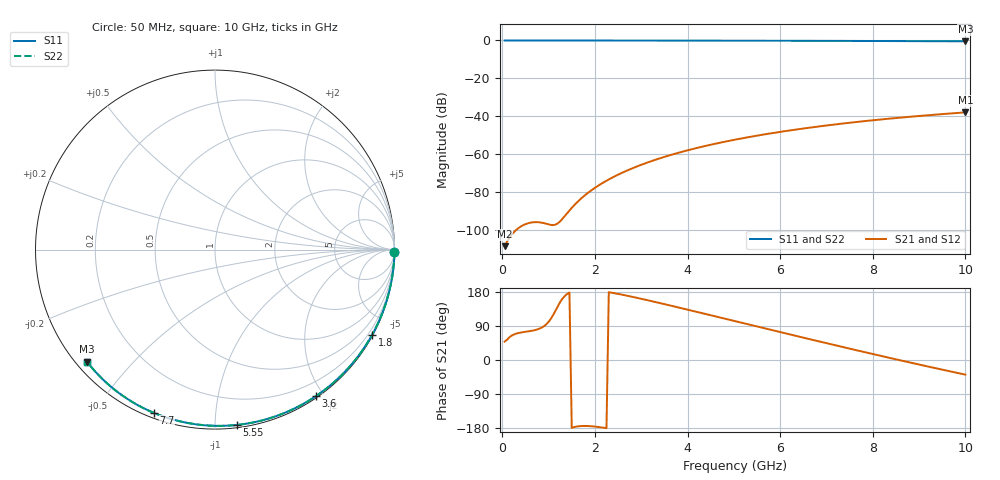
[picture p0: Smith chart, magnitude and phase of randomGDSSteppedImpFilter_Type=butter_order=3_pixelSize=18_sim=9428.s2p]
! freq	dB(S11)	phase(S11)	dB(S12)	phase(S12)
!  dB(S21)	phase(S21)	dB(S22)	phase(S22)
!S-par simulation data
#  GHz  S  DB  R 50
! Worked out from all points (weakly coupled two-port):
!   200 points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, 50 MHz to 10 GHz, reference 50 ohm
!   highest |S21| = -37.89 dB at 10 GHz (marker M1); lowest = -108.4 dB at 50 MHz (marker M2)
!   lowest |S11| = -0.5 dB at 10 GHz (marker M3), VSWR 37.60, Z = 1.52 - j18.8 ohm
!   |S11| at or under -10 dB: nowhere
!   |S22| runs from -0.5 to 0.0 dB; largest |S21 - S12| = 0
!   S11 on the Smith chart (normalised r, x): 50 MHz: open; 1.8 GHz: 0.03, -3.95; 3.6 GHz: 0.02, -1.90; 5.55 GHz: 0.02, -1.13; 7.7 GHz: 0.02, -0.69; 10 GHz: 0.03, -0.38
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0.05  -0.00 -0.8  -108.40 48.5  -108.40 48.5  -0.00 -0.8
0.9  -0.02 -14.4  -96.27 89.2  -96.27 89.2  -0.02 -14.4
1.75  -0.04 -27.7  -82.27 -174.0  -82.27 -174.0  -0.04 -27.6
1.8  -0.04 -28.4  -81.26 -174.0  -81.26 -174.0  -0.04 -28.4
1.85  -0.04 -29.2  -80.30 -174.2  -80.30 -174.2  -0.04 -29.2
1.9  -0.04 -30.0  -79.39 -174.6  -79.39 -174.6  -0.04 -30.0
2.05  -0.04 -32.3  -76.86 -176.4  -76.86 -176.4  -0.04 -32.3
2.25  -0.05 -35.3  -73.91 -180.0  -73.91 -180.0  -0.05 -35.3
2.45  -0.05 -38.4  -71.32 175.7  -71.32 175.7  -0.05 -38.4
2.65  -0.05 -41.4  -69.02 170.8  -69.02 170.8  -0.05 -41.4
3  -0.06 -46.7  -65.52 161.6  -65.52 161.6  -0.06 -46.7
3.4  -0.07 -52.6  -62.12 150.3  -62.12 150.3  -0.07 -52.6
3.6  -0.07 -55.5  -60.61 144.6  -60.61 144.6  -0.07 -55.5
4.3  -0.09 -65.6  -56.08 124.0  -56.08 124.0  -0.09 -65.6
5.05  -0.12 -76.0  -52.17 101.8  -52.17 101.8  -0.12 -76.0
5.55  -0.14 -82.8  -49.96 86.9  -49.96 86.9  -0.14 -82.8
6.1  -0.16 -90.2  -47.81 70.7  -47.81 70.7  -0.16 -90.1
6.7  -0.19 -98.0  -45.74 53.1  -45.74 53.1  -0.19 -97.9
7.7  -0.25 -110.6  -42.83 24.3  -42.83 24.3  -0.25 -110.6
8.35  -0.30 -118.6  -41.22 5.9  -41.22 5.9  -0.30 -118.6
9.2  -0.38 -129.0  -39.39 -17.4  -39.39 -17.4  -0.38 -129.0
10  -0.46 -138.8  -37.89 -38.6  -37.89 -38.6  -0.46 -138.7
